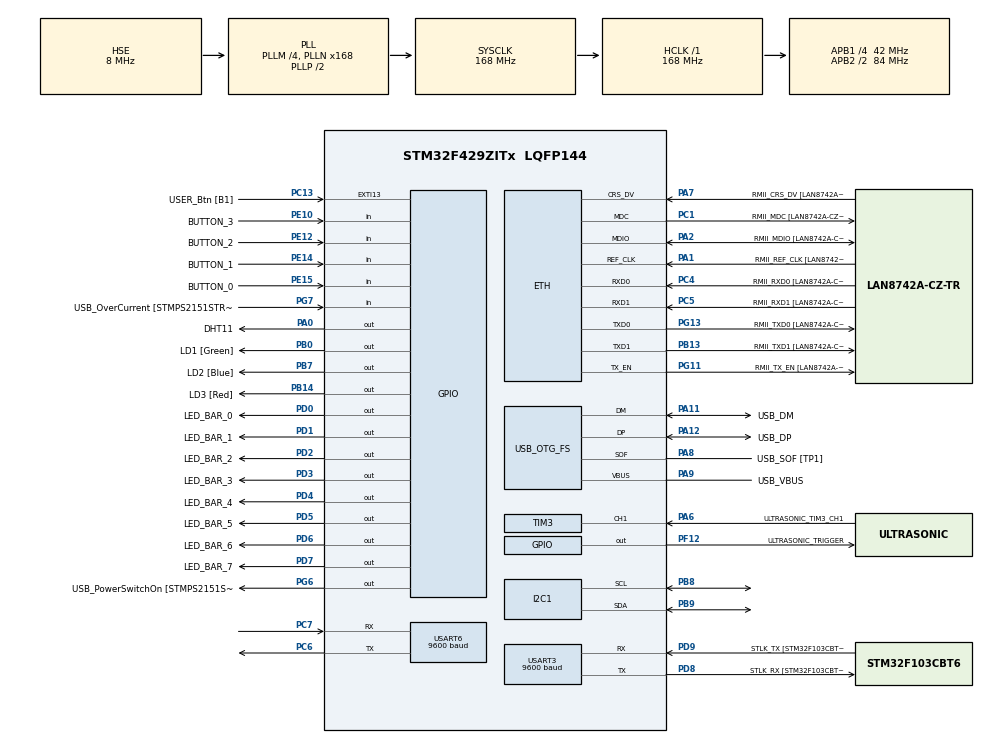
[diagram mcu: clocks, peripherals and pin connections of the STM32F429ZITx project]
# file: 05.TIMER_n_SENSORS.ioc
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ETH.MediaInterface=HAL_ETH_RMII_MODE
ETH.PHY_Name=LAN8742A_PHY_ADDRESS
ETH.PHY_Value=0
ETH.PhyAddress=0
Mcu.Family=STM32F4
Mcu.Name=STM32F429ZITx
Mcu.Package=LQFP144
NVIC.PriorityGroup=NVIC_PRIORITYGROUP_4
NVIC.TIM1_TRG_COM_TIM11_IRQn=true\:0\:0\:false\:false\:true\:true\:true\:true
NVIC.TIM1_UP_TIM10_IRQn=true\:0\:0\:false\:false\:true\:true\:true\:true
NVIC.TIM3_IRQn=true\:0\:0\:false\:false\:true\:true\:true\:true
NVIC.USART3_IRQn=true\:0\:0\:false\:false\:true\:true\:true\:true
NVIC.USART6_IRQn=true\:0\:0\:false\:false\:true\:true\:true\:true
PA0/WKUP.GPIO_Label=DHT11
PA0/WKUP.Signal=GPIO_Output
PA1.GPIO_Label=RMII_REF_CLK [LAN8742A-CZ-TR_REFCLK0]
PA1.Mode=RMII
PA1.Signal=ETH_REF_CLK
PA10.GPIO_Label=USB_ID
PA10.Signal=USB_OTG_FS_ID
PA11.GPIO_Label=USB_DM
PA11.Mode=Device_Only
PA11.Signal=USB_OTG_FS_DM
PA12.GPIO_Label=USB_DP
PA12.Mode=Device_Only
PA12.Signal=USB_OTG_FS_DP
PA13.GPIO_Label=TMS
PA13.Mode=Serial_Wire
PA13.Signal=SYS_JTMS-SWDIO
PA14.GPIO_Label=TCK
PA14.Mode=Serial_Wire
PA14.Signal=SYS_JTCK-SWCLK
PA2.GPIO_Label=RMII_MDIO [LAN8742A-CZ-TR_MDIO]
PA2.Mode=RMII
PA2.Signal=ETH_MDIO
PA6.GPIO_Label=ULTRASONIC_TIM3_CH1
PA6.Signal=S_TIM3_CH1
PA7.GPIO_Label=RMII_CRS_DV [LAN8742A-CZ-TR_CRS_DV]
PA7.Mode=RMII
PA7.Signal=ETH_CRS_DV
PA8.GPIO_Label=USB_SOF [TP1]
PA8.Mode=Activate_SOF_FS
PA8.Signal=USB_OTG_FS_SOF
PA9.GPIO_Label=USB_VBUS
PA9.Mode=Activate_VBUS
PA9.Signal=USB_OTG_FS_VBUS
PB0.GPIO_Label=LD1 [Green]
PB0.Signal=GPIO_Output
PB13.GPIO_Label=RMII_TXD1 [LAN8742A-CZ-TR_TXD1]
PB13.Mode=RMII
PB13.Signal=ETH_TXD1
PB14.GPIO_Label=LD3 [Red]
PB14.Signal=GPIO_Output
PB7.GPIO_Label=LD2 [Blue]
PB7.Signal=GPIO_Output
PB8.Mode=I2C
PB8.Signal=I2C1_SCL
PB9.Mode=I2C
PB9.Signal=I2C1_SDA
PC1.GPIO_Label=RMII_MDC [LAN8742A-CZ-TR_MDC]
PC1.Mode=RMII
PC1.Signal=ETH_MDC
PC13.GPIO_Label=USER_Btn [B1]
PC13.Signal=GPXTI13
PC14/OSC32_IN.Mode=LSE-External-Oscillator
PC14/OSC32_IN.Signal=RCC_OSC32_IN
PC15/OSC32_OUT.Mode=LSE-External-Oscillator
PC15/OSC32_OUT.Signal=RCC_OSC32_OUT
PC4.GPIO_Label=RMII_RXD0 [LAN8742A-CZ-TR_RXD0]
PC4.Mode=RMII
PC4.Signal=ETH_RXD0
PC5.GPIO_Label=RMII_RXD1 [LAN8742A-CZ-TR_RXD1]
PC5.Mode=RMII
PC5.Signal=ETH_RXD1
PC6.Mode=Asynchronous
PC6.Signal=USART6_TX
PC7.Mode=Asynchronous
PC7.Signal=USART6_RX
PD0.GPIO_Label=LED_BAR_0
PD0.PinState=GPIO_PIN_RESET
PD0.Signal=GPIO_Output
PD1.GPIO_Label=LED_BAR_1
PD1.PinState=GPIO_PIN_RESET
PD1.Signal=GPIO_Output
PD2.GPIO_Label=LED_BAR_2
PD2.PinState=GPIO_PIN_RESET
PD2.Signal=GPIO_Output
PD3.GPIO_Label=LED_BAR_3
PD3.PinState=GPIO_PIN_RESET
PD3.Signal=GPIO_Output
PD4.GPIO_Label=LED_BAR_4
PD4.PinState=GPIO_PIN_RESET
PD4.Signal=GPIO_Output
PD5.GPIO_Label=LED_BAR_5
PD5.PinState=GPIO_PIN_RESET
PD5.Signal=GPIO_Output
PD6.GPIO_Label=LED_BAR_6
PD6.PinState=GPIO_PIN_RESET
PD6.Signal=GPIO_Output
PD7.GPIO_Label=LED_BAR_7
PD7.PinState=GPIO_PIN_RESET
PD7.Signal=GPIO_Output
PD8.GPIO_Label=STLK_RX [STM32F103CBT6_PA3]
PD8.Mode=Asynchronous
PD8.Signal=USART3_TX
PD9.GPIO_Label=STLK_TX [STM32F103CBT6_PA2]
PD9.Mode=Asynchronous
PD9.Signal=USART3_RX
PE10.GPIO_Label=BUTTON_3
PE10.Signal=GPIO_Input
PE12.GPIO_Label=BUTTON_2
PE12.Signal=GPIO_Input
PE14.GPIO_Label=BUTTON_1
PE14.Signal=GPIO_Input
PE15.GPIO_Label=BUTTON_0
PE15.Signal=GPIO_Input
PF12.GPIO_Label=ULTRASONIC_TRIGGER
PF12.Signal=GPIO_Output
PG11.GPIO_Label=RMII_TX_EN [LAN8742A-CZ-TR_TXEN]
PG11.Mode=RMII
PG11.Signal=ETH_TX_EN
PG13.GPIO_Label=RMII_TXD0 [LAN8742A-CZ-TR_TXD0]
PG13.Mode=RMII
PG13.Signal=ETH_TXD0
PG6.GPIO_Label=USB_PowerSwitchOn [STMPS2151STR_EN]
PG6.Signal=GPIO_Output
PG7.GPIO_Label=USB_OverCurrent [STMPS2151STR_FAULT]
PG7.Signal=GPIO_Input
PH0/OSC_IN.GPIO_Label=MCO [STM32F103CBT6_PA8]
PH0/OSC_IN.Mode=HSE-External-Clock-Source
PH0/OSC_IN.Signal=RCC_OSC_IN
PH1/OSC_OUT.Mode=HSE-External-Clock-Source
PH1/OSC_OUT.Signal=RCC_OSC_OUT
ProjectManager.HeapSize=0x200
ProjectManager.StackSize=0x400
ProjectManager.TargetToolchain=STM32CubeIDE
RCC.48MHZClocksFreq_Value=48000000
RCC.AHBFreq_Value=168000000
RCC.APB1CLKDivider=RCC_HCLK_DIV4
RCC.APB1Freq_Value=42000000
RCC.APB1TimFreq_Value=84000000
RCC.APB2CLKDivider=RCC_HCLK_DIV2
RCC.APB2Freq_Value=84000000
RCC.APB2TimCLKDivider=2
RCC.APB2TimFreq_Value=168000000
RCC.CortexFreq_Value=168000000
RCC.HCLKFreq_Value=168000000
RCC.HSE_VALUE=8000000
RCC.HSI_VALUE=16000000
RCC.PLLM=4
RCC.PLLMUL=RCC_PLL_MUL9
RCC.PLLN=168
RCC.PLLQ=7
RCC.PRESCALERUSB=RCC_USBCLKSOURCE_PLL_DIV1_5
RCC.SYSCLKFreq_VALUE=168000000
RCC.SYSCLKSource=RCC_SYSCLKSOURCE_PLLCLK
RCC.SYSCLKSourceVirtual=RCC_SYSCLKSOURCE_PLLCLK
RCC.USBFreq_Value=48000000
RCC.VCOOutputFreq_Value=336000000
SH.S_TIM3_CH1.0=TIM3_CH1,Input_Capture1_from_TI1
TIM10.Period=10000-1
TIM10.Prescaler=168-1
TIM11.Prescaler=168-1
TIM3.Channel-Input_Capture1_from_TI1=TIM_CHANNEL_1
TIM3.ICPolarity_CH1=TIM_INPUTCHANNELPOLARITY_BOTHEDGE
TIM3.Prescaler=84-1
USART3.BaudRate=9600
USART3.VirtualMode=VM_ASYNC
USART6.BaudRate=9600
USART6.VirtualMode=VM_ASYNC
USB_OTG_FS.VirtualMode=Device_Only
VP_TIM10_VS_ClockSourceINT.Mode=Enable_Timer
VP_TIM11_VS_ClockSourceINT.Mode=Enable_Timer
board=NUCLEO-F429ZI

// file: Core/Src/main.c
/* USER CODE BEGIN Header */
/**
  ******************************************************************************
  * @file           : main.c
  * @brief          : Main program body
  ******************************************************************************
  * @attention
  *
  * Copyright (c) 2023 STMicroelectronics.
  * All rights reserved.
  *
  * This software is licensed under terms that can be found in the LICENSE file
  * in the root directory of this software component.
  * If no LICENSE file comes with this software, it is provided AS-IS.
  *
  ******************************************************************************
  */
/* USER CODE END Header */
#include "main.h"
#include "string.h"

ETH_TxPacketConfig TxConfig;
ETH_DMADescTypeDef  DMARxDscrTab[ETH_RX_DESC_CNT]; /* Ethernet Rx DMA Descriptors */
ETH_DMADescTypeDef  DMATxDscrTab[ETH_TX_DESC_CNT]; /* Ethernet Tx DMA Descriptors */

ETH_HandleTypeDef heth;

I2C_HandleTypeDef hi2c1;

TIM_HandleTypeDef htim3;
TIM_HandleTypeDef htim10;
TIM_HandleTypeDef htim11;

UART_HandleTypeDef huart3;
UART_HandleTypeDef huart6;

PCD_HandleTypeDef hpcd_USB_OTG_FS;

/* USER CODE BEGIN PV */
	uint8_t rx_data; 	// uart3 rx data
	uint8_t bt_rx_data; // uart6 BLUETOOTH rx data
/* USER CODE END PV */

void SystemClock_Config(void);
static void MX_GPIO_Init(void);
static void MX_ETH_Init(void);
static void MX_USART3_UART_Init(void);
static void MX_USB_OTG_FS_PCD_Init(void);
static void MX_USART6_UART_Init(void);
static void MX_TIM10_Init(void);
static void MX_TIM11_Init(void);
static void MX_TIM3_Init(void);
static void MX_I2C1_Init(void);
/* USER CODE BEGIN PFP */
extern void led_final_main(void);
extern void pc_command_processing(void);
extern void bt_command_processing(void);
extern void DHT11_main(void);
extern void DHT11_processing(void);
extern void ultrasonic_processing(void);
extern void i2c_lcd_main(void);
extern void i2c_lcd_init(void);
extern void lcd_string(uint8_t *str);
extern void move_cursor(uint8_t row, uint8_t column);

void delay_us(unsigned long us);
/* USER CODE END PFP */

/* USER CODE BEGIN 0 */
// call by SysTick_Handler of stm3244xx_it.c
// ARM default timer
// enter here every 1ms
volatile int t1ms_counter = 0; // volatile : 컴파?��?��?�� ?��?�� 최적?�� 방�?
void HAL_SYSTICK_Handler(void)
{
	t1ms_counter++;
}
//---------- CUSTOM printf start ----------
#ifdef __GNUC__
/* With GCC, small printf (option LD Linker->Libraries->Small printf
   set to 'Yes') calls __io_putchar() */
#define PUTCHAR_PROTOTYPE int __io_putchar(int ch)
#else
#define PUTCHAR_PROTOTYPE int fputc(int ch, FILE *f)
#endif /* __GNUC_ */
/**
  * @brief  Retargets the C library printf function to the USART.
  * @param  None
  * @retval None
  */
PUTCHAR_PROTOTYPE   // Add for CUSTOM printf
{
  /* Place your implementation of fputc here */
  /* e.g. write a character to the USART3 and Loop until the end of transmission */
  HAL_UART_Transmit(&huart3, (uint8_t *)&ch, 1, 0xFFFF);

  return ch;
}
//---------- CUSTOM printf end ----------

// Move here from Drivers > STM32F4xx_HAL_Driver > Src > stm32f4xx_hal_tim.c
// Cut and pasted, NOT COPY-PASTED
// Enter here whenever timer IT (interrupt) occurs
/**
  * @brief  Period elapsed callback in non-blocking mode
  * @param  htim TIM handle
  * @retval None
  */
volatile int TIM10_10ms_counter = 0;
volatile int TIM10_10ms_ultrasonic = 0;
void HAL_TIM_PeriodElapsedCallback(TIM_HandleTypeDef *htim)
{
	if(htim->Instance == TIM10)
	{
		TIM10_10ms_counter++;
		TIM10_10ms_ultrasonic++;
	}
}

void delay_us(unsigned long us)
{
	__HAL_TIM_SET_COUNTER(&htim11, 0);
	while(__HAL_TIM_GET_COUNTER(&htim11) < us); // 카운?�� 값이 �?????�� us보다 값이 ?��?��?��?�� ?��무것?�� ?���???? ?���???? 무한 반복
}

/* USER CODE END 0 */

int main(void)
{

  /* MCU Configuration--------------------------------------------------------*/

  /* Reset of all peripherals, Initializes the Flash interface and the Systick. */
  HAL_Init();

  /* Configure the system clock */
  SystemClock_Config();

  /* Initialize all configured peripherals */
  MX_GPIO_Init();
  MX_ETH_Init();
  MX_USART3_UART_Init();
  MX_USB_OTG_FS_PCD_Init();
  MX_USART6_UART_Init();
  MX_TIM10_Init();
  MX_TIM11_Init();
  MX_TIM3_Init();
  MX_I2C1_Init();
  /* USER CODE BEGIN 2 */
  HAL_UART_Receive_IT(&huart3, &rx_data, 1);   // Assign to RX INT
  HAL_UART_Receive_IT(&huart6, &bt_rx_data, 1);

  HAL_TIM_Base_Start_IT(&htim10); // Added 2023.10.11
  HAL_TIM_Base_Start_IT(&htim11); // Added 2023.10.11 for DHT11
  HAL_TIM_IC_Start(&htim3, TIM_CHANNEL_1); // Added 2023.10.12 for ultrasonic; for pulse count (rising edge & falling edge)

//  DHT11_init();
  i2c_lcd_init();

  TIM10_10ms_counter = 0;
  DHT11_main();
//  i2c_lcd_main();
  /* USER CODE END 2 */

  /* Infinite loop */
  /* USER CODE BEGIN WHILE */
  while (1)
  {

	DHT11_processing();
	ultrasonic_processing();
    /* USER CODE END WHILE */

  }
}

void SystemClock_Config(void)
{
  RCC_OscInitTypeDef RCC_OscInitStruct = {0};
  RCC_ClkInitTypeDef RCC_ClkInitStruct = {0};

  /** Configure the main internal regulator output voltage
  */
  __HAL_RCC_PWR_CLK_ENABLE();
  __HAL_PWR_VOLTAGESCALING_CONFIG(PWR_REGULATOR_VOLTAGE_SCALE1);

  /** Initializes the RCC Oscillators according to the specified parameters
  * in the RCC_OscInitTypeDef structure.
  */
  RCC_OscInitStruct.OscillatorType = RCC_OSCILLATORTYPE_HSE;
  RCC_OscInitStruct.HSEState = RCC_HSE_BYPASS;
  RCC_OscInitStruct.PLL.PLLState = RCC_PLL_ON;
  RCC_OscInitStruct.PLL.PLLSource = RCC_PLLSOURCE_HSE;
  RCC_OscInitStruct.PLL.PLLM = 4;
  RCC_OscInitStruct.PLL.PLLN = 168;
  RCC_OscInitStruct.PLL.PLLP = RCC_PLLP_DIV2;
  RCC_OscInitStruct.PLL.PLLQ = 7;
  if (HAL_RCC_OscConfig(&RCC_OscInitStruct) != HAL_OK)
  {
    Error_Handler();
  }

  /** Initializes the CPU, AHB and APB buses clocks
  */
  RCC_ClkInitStruct.ClockType = RCC_CLOCKTYPE_HCLK|RCC_CLOCKTYPE_SYSCLK
                              |RCC_CLOCKTYPE_PCLK1|RCC_CLOCKTYPE_PCLK2;
  RCC_ClkInitStruct.SYSCLKSource = RCC_SYSCLKSOURCE_PLLCLK;
  RCC_ClkInitStruct.AHBCLKDivider = RCC_SYSCLK_DIV1;
  RCC_ClkInitStruct.APB1CLKDivider = RCC_HCLK_DIV4;
  RCC_ClkInitStruct.APB2CLKDivider = RCC_HCLK_DIV2;

  if (HAL_RCC_ClockConfig(&RCC_ClkInitStruct, FLASH_LATENCY_5) != HAL_OK)
  {
    Error_Handler();
  }
}

static void MX_ETH_Init(void)
{

   static uint8_t MACAddr[6];

  heth.Instance = ETH;
  MACAddr[0] = 0x00;
  MACAddr[1] = 0x80;
  MACAddr[2] = 0xE1;
  MACAddr[3] = 0x00;
  MACAddr[4] = 0x00;
  MACAddr[5] = 0x00;
  heth.Init.MACAddr = &MACAddr[0];
  heth.Init.MediaInterface = HAL_ETH_RMII_MODE;
  heth.Init.TxDesc = DMATxDscrTab;
  heth.Init.RxDesc = DMARxDscrTab;
  heth.Init.RxBuffLen = 1524;

  if (HAL_ETH_Init(&heth) != HAL_OK)
  {
    Error_Handler();
  }

  memset(&TxConfig, 0 , sizeof(ETH_TxPacketConfig));
  TxConfig.Attributes = ETH_TX_PACKETS_FEATURES_CSUM | ETH_TX_PACKETS_FEATURES_CRCPAD;
  TxConfig.ChecksumCtrl = ETH_CHECKSUM_IPHDR_PAYLOAD_INSERT_PHDR_CALC;
  TxConfig.CRCPadCtrl = ETH_CRC_PAD_INSERT;

}

static void MX_I2C1_Init(void)
{

  hi2c1.Instance = I2C1;
  hi2c1.Init.ClockSpeed = 100000;
  hi2c1.Init.DutyCycle = I2C_DUTYCYCLE_2;
  hi2c1.Init.OwnAddress1 = 0;
  hi2c1.Init.AddressingMode = I2C_ADDRESSINGMODE_7BIT;
  hi2c1.Init.DualAddressMode = I2C_DUALADDRESS_DISABLE;
  hi2c1.Init.OwnAddress2 = 0;
  hi2c1.Init.GeneralCallMode = I2C_GENERALCALL_DISABLE;
  hi2c1.Init.NoStretchMode = I2C_NOSTRETCH_DISABLE;
  if (HAL_I2C_Init(&hi2c1) != HAL_OK)
  {
    Error_Handler();
  }

  /** Configure Analogue filter
  */
  if (HAL_I2CEx_ConfigAnalogFilter(&hi2c1, I2C_ANALOGFILTER_ENABLE) != HAL_OK)
  {
    Error_Handler();
  }

  /** Configure Digital filter
  */
  if (HAL_I2CEx_ConfigDigitalFilter(&hi2c1, 0) != HAL_OK)
  {
    Error_Handler();
  }

}

static void MX_TIM3_Init(void)
{

  TIM_MasterConfigTypeDef sMasterConfig = {0};
  TIM_IC_InitTypeDef sConfigIC = {0};

  htim3.Instance = TIM3;
  htim3.Init.Prescaler = 84-1;
  htim3.Init.CounterMode = TIM_COUNTERMODE_UP;
  htim3.Init.Period = 65535;
  htim3.Init.ClockDivision = TIM_CLOCKDIVISION_DIV1;
  htim3.Init.AutoReloadPreload = TIM_AUTORELOAD_PRELOAD_DISABLE;
  if (HAL_TIM_IC_Init(&htim3) != HAL_OK)
  {
    Error_Handler();
  }
  sMasterConfig.MasterOutputTrigger = TIM_TRGO_RESET;
  sMasterConfig.MasterSlaveMode = TIM_MASTERSLAVEMODE_DISABLE;
  if (HAL_TIMEx_MasterConfigSynchronization(&htim3, &sMasterConfig) != HAL_OK)
  {
    Error_Handler();
  }
  sConfigIC.ICPolarity = TIM_INPUTCHANNELPOLARITY_BOTHEDGE;
  sConfigIC.ICSelection = TIM_ICSELECTION_DIRECTTI;
  sConfigIC.ICPrescaler = TIM_ICPSC_DIV1;
  sConfigIC.ICFilter = 0;
  if (HAL_TIM_IC_ConfigChannel(&htim3, &sConfigIC, TIM_CHANNEL_1) != HAL_OK)
  {
    Error_Handler();
  }

}

static void MX_TIM10_Init(void)
{

  htim10.Instance = TIM10;
  htim10.Init.Prescaler = 168-1;
  htim10.Init.CounterMode = TIM_COUNTERMODE_UP;
  htim10.Init.Period = 10000-1;
  htim10.Init.ClockDivision = TIM_CLOCKDIVISION_DIV1;
  htim10.Init.AutoReloadPreload = TIM_AUTORELOAD_PRELOAD_DISABLE;
  if (HAL_TIM_Base_Init(&htim10) != HAL_OK)
  {
    Error_Handler();
  }

}

static void MX_TIM11_Init(void)
{

  htim11.Instance = TIM11;
  htim11.Init.Prescaler = 168-1;
  htim11.Init.CounterMode = TIM_COUNTERMODE_UP;
  htim11.Init.Period = 65535;
  htim11.Init.ClockDivision = TIM_CLOCKDIVISION_DIV1;
  htim11.Init.AutoReloadPreload = TIM_AUTORELOAD_PRELOAD_DISABLE;
  if (HAL_TIM_Base_Init(&htim11) != HAL_OK)
  {
    Error_Handler();
  }

}

static void MX_USART3_UART_Init(void)
{

  huart3.Instance = USART3;
  huart3.Init.BaudRate = 9600;
  huart3.Init.WordLength = UART_WORDLENGTH_8B;
  huart3.Init.StopBits = UART_STOPBITS_1;
  huart3.Init.Parity = UART_PARITY_NONE;
  huart3.Init.Mode = UART_MODE_TX_RX;
  huart3.Init.HwFlowCtl = UART_HWCONTROL_NONE;
  huart3.Init.OverSampling = UART_OVERSAMPLING_16;
  if (HAL_UART_Init(&huart3) != HAL_OK)
  {
    Error_Handler();
  }

}

static void MX_USART6_UART_Init(void)
{

  huart6.Instance = USART6;
  huart6.Init.BaudRate = 9600;
  huart6.Init.WordLength = UART_WORDLENGTH_8B;
  huart6.Init.StopBits = UART_STOPBITS_1;
  huart6.Init.Parity = UART_PARITY_NONE;
  huart6.Init.Mode = UART_MODE_TX_RX;
  huart6.Init.HwFlowCtl = UART_HWCONTROL_NONE;
  huart6.Init.OverSampling = UART_OVERSAMPLING_16;
  if (HAL_UART_Init(&huart6) != HAL_OK)
  {
    Error_Handler();
  }

}

static void MX_USB_OTG_FS_PCD_Init(void)
{

  hpcd_USB_OTG_FS.Instance = USB_OTG_FS;
  hpcd_USB_OTG_FS.Init.dev_endpoints = 4;
  hpcd_USB_OTG_FS.Init.speed = PCD_SPEED_FULL;
  hpcd_USB_OTG_FS.Init.dma_enable = DISABLE;
  hpcd_USB_OTG_FS.Init.phy_itface = PCD_PHY_EMBEDDED;
  hpcd_USB_OTG_FS.Init.Sof_enable = ENABLE;
  hpcd_USB_OTG_FS.Init.low_power_enable = DISABLE;
  hpcd_USB_OTG_FS.Init.lpm_enable = DISABLE;
  hpcd_USB_OTG_FS.Init.vbus_sensing_enable = ENABLE;
  hpcd_USB_OTG_FS.Init.use_dedicated_ep1 = DISABLE;
  if (HAL_PCD_Init(&hpcd_USB_OTG_FS) != HAL_OK)
  {
    Error_Handler();
  }

}

static void MX_GPIO_Init(void)
{
  GPIO_InitTypeDef GPIO_InitStruct = {0};

  /* GPIO Ports Clock Enable */
  __HAL_RCC_GPIOC_CLK_ENABLE();
  __HAL_RCC_GPIOH_CLK_ENABLE();
  __HAL_RCC_GPIOA_CLK_ENABLE();
  __HAL_RCC_GPIOB_CLK_ENABLE();
  __HAL_RCC_GPIOF_CLK_ENABLE();
  __HAL_RCC_GPIOE_CLK_ENABLE();
  __HAL_RCC_GPIOD_CLK_ENABLE();
  __HAL_RCC_GPIOG_CLK_ENABLE();

  /*Configure GPIO pin Output Level */
  HAL_GPIO_WritePin(DHT11_GPIO_Port, DHT11_Pin, GPIO_PIN_RESET);

  /*Configure GPIO pin Output Level */
  HAL_GPIO_WritePin(GPIOB, LD1_Pin|LD3_Pin|LD2_Pin, GPIO_PIN_RESET);

  /*Configure GPIO pin Output Level */
  HAL_GPIO_WritePin(ULTRASONIC_TRIGGER_GPIO_Port, ULTRASONIC_TRIGGER_Pin, GPIO_PIN_RESET);

  /*Configure GPIO pin Output Level */
  HAL_GPIO_WritePin(USB_PowerSwitchOn_GPIO_Port, USB_PowerSwitchOn_Pin, GPIO_PIN_RESET);

  /*Configure GPIO pin Output Level */
  HAL_GPIO_WritePin(GPIOD, LED_BAR_0_Pin|LED_BAR_1_Pin|LED_BAR_2_Pin|LED_BAR_3_Pin
                          |LED_BAR_4_Pin|LED_BAR_5_Pin|LED_BAR_6_Pin|LED_BAR_7_Pin, GPIO_PIN_RESET);

  /*Configure GPIO pin : USER_Btn_Pin */
  GPIO_InitStruct.Pin = USER_Btn_Pin;
  GPIO_InitStruct.Mode = GPIO_MODE_IT_RISING;
  GPIO_InitStruct.Pull = GPIO_NOPULL;
  HAL_GPIO_Init(USER_Btn_GPIO_Port, &GPIO_InitStruct);

  /*Configure GPIO pin : DHT11_Pin */
  GPIO_InitStruct.Pin = DHT11_Pin;
  GPIO_InitStruct.Mode = GPIO_MODE_OUTPUT_PP;
  GPIO_InitStruct.Pull = GPIO_NOPULL;
  GPIO_InitStruct.Speed = GPIO_SPEED_FREQ_LOW;
  HAL_GPIO_Init(DHT11_GPIO_Port, &GPIO_InitStruct);

  /*Configure GPIO pins : LD1_Pin LD3_Pin LD2_Pin */
  GPIO_InitStruct.Pin = LD1_Pin|LD3_Pin|LD2_Pin;
  GPIO_InitStruct.Mode = GPIO_MODE_OUTPUT_PP;
  GPIO_InitStruct.Pull = GPIO_NOPULL;
  GPIO_InitStruct.Speed = GPIO_SPEED_FREQ_LOW;
  HAL_GPIO_Init(GPIOB, &GPIO_InitStruct);

  /*Configure GPIO pin : ULTRASONIC_TRIGGER_Pin */
  GPIO_InitStruct.Pin = ULTRASONIC_TRIGGER_Pin;
  GPIO_InitStruct.Mode = GPIO_MODE_OUTPUT_PP;
  GPIO_InitStruct.Pull = GPIO_NOPULL;
  GPIO_InitStruct.Speed = GPIO_SPEED_FREQ_LOW;
  HAL_GPIO_Init(ULTRASONIC_TRIGGER_GPIO_Port, &GPIO_InitStruct);

  /*Configure GPIO pins : BUTTON_3_Pin BUTTON_2_Pin BUTTON_1_Pin BUTTON_0_Pin */
  GPIO_InitStruct.Pin = BUTTON_3_Pin|BUTTON_2_Pin|BUTTON_1_Pin|BUTTON_0_Pin;
  GPIO_InitStruct.Mode = GPIO_MODE_INPUT;
  GPIO_InitStruct.Pull = GPIO_NOPULL;
  HAL_GPIO_Init(GPIOE, &GPIO_InitStruct);

  /*Configure GPIO pin : USB_PowerSwitchOn_Pin */
  GPIO_InitStruct.Pin = USB_PowerSwitchOn_Pin;
  GPIO_InitStruct.Mode = GPIO_MODE_OUTPUT_PP;
  GPIO_InitStruct.Pull = GPIO_NOPULL;
  GPIO_InitStruct.Speed = GPIO_SPEED_FREQ_LOW;
  HAL_GPIO_Init(USB_PowerSwitchOn_GPIO_Port, &GPIO_InitStruct);

  /*Configure GPIO pin : USB_OverCurrent_Pin */
  GPIO_InitStruct.Pin = USB_OverCurrent_Pin;
  GPIO_InitStruct.Mode = GPIO_MODE_INPUT;
  GPIO_InitStruct.Pull = GPIO_NOPULL;
  HAL_GPIO_Init(USB_OverCurrent_GPIO_Port, &GPIO_InitStruct);

  /*Configure GPIO pins : LED_BAR_0_Pin LED_BAR_1_Pin LED_BAR_2_Pin LED_BAR_3_Pin
                           LED_BAR_4_Pin LED_BAR_5_Pin LED_BAR_6_Pin LED_BAR_7_Pin */
  GPIO_InitStruct.Pin = LED_BAR_0_Pin|LED_BAR_1_Pin|LED_BAR_2_Pin|LED_BAR_3_Pin
                          |LED_BAR_4_Pin|LED_BAR_5_Pin|LED_BAR_6_Pin|LED_BAR_7_Pin;
  GPIO_InitStruct.Mode = GPIO_MODE_OUTPUT_PP;
  GPIO_InitStruct.Pull = GPIO_NOPULL;
  GPIO_InitStruct.Speed = GPIO_SPEED_FREQ_LOW;
  HAL_GPIO_Init(GPIOD, &GPIO_InitStruct);

}

void Error_Handler(void)
{
  __disable_irq();
  while (1)
  {
  }
}
